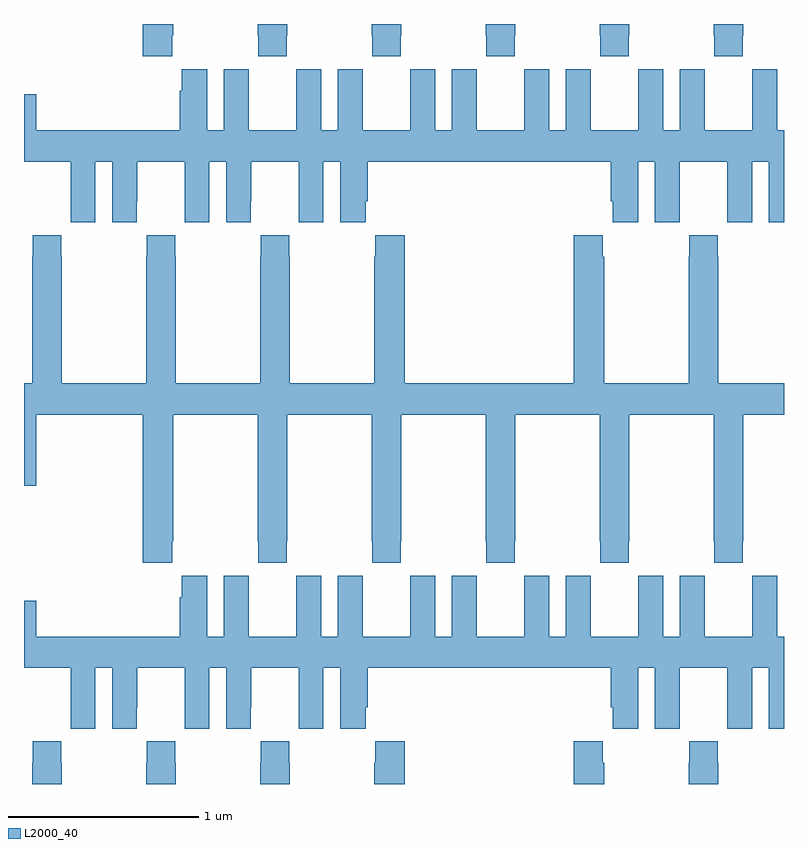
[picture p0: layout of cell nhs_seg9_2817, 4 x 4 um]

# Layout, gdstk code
import gdstk
lib = gdstk.Library(unit=1e-6, precision=1e-09)
def P(c, l, *ps):  # polygons
    for p in ps: c.add(gdstk.Polygon(p, *l))
L2000_40 = (2000, 40)

nhs_seg9_2817 = lib.new_cell('nhs_seg9_2817')
P(nhs_seg9_2817, L2000_40, [(276.783,1174.441),(276.786,1174.441),(276.786,1174.5),(276.631,1174.5),(276.631,1174.441),(276.633,1174.441),(276.633,1174.329),(276.783,1174.329)],
  [(276.183,1174.441),(276.186,1174.441),(276.186,1174.5),(276.031,1174.5),(276.031,1174.441),(276.033,1174.441),(276.033,1174.329),(276.183,1174.329)],
  [(275.583,1174.441),(275.586,1174.441),(275.586,1174.5),(275.431,1174.5),(275.431,1174.441),(275.433,1174.441),(275.433,1174.329),(275.583,1174.329)],
  [(274.983,1174.441),(274.986,1174.441),(274.986,1174.5),(274.831,1174.5),(274.831,1174.441),(274.833,1174.441),(274.833,1174.329),(274.983,1174.329)],
  [(274.383,1174.441),(274.386,1174.441),(274.386,1174.5),(274.231,1174.5),(274.231,1174.441),(274.233,1174.441),(274.233,1174.329),(274.383,1174.329)],
  [(273.779,1174.441),(273.786,1174.441),(273.786,1174.5),(273.626,1174.5),(273.626,1174.329),(273.779,1174.329)],
  [(273.376,1173.776),(273.464,1173.776),(273.464,1173.456),(273.594,1173.456),(273.594,1173.568),(273.595,1173.568),(273.595,1173.776),(273.845,1173.776),(273.845,1173.568),(273.846,1173.568),(273.846,1173.456),(273.976,1173.456),(273.976,1173.776),(274.064,1173.776),(274.064,1173.456),(274.194,1173.456),(274.194,1173.568),(274.195,1173.568),(274.195,1173.776),(274.445,1173.776),(274.445,1173.568),(274.446,1173.568),(274.446,1173.456),(274.576,1173.456),(274.576,1173.776),(274.664,1173.776),(274.664,1173.456),(274.798,1173.456),(274.798,1173.568),(274.808,1173.568),(274.808,1173.776),(276.089,1173.776),(276.089,1173.568),(276.098,1173.568),(276.098,1173.456),(276.232,1173.456),(276.232,1173.776),(276.32,1173.776),(276.32,1173.456),(276.45,1173.456),(276.45,1173.568),(276.451,1173.568),(276.451,1173.776),(276.701,1173.776),(276.701,1173.568),(276.702,1173.568),(276.702,1173.456),(276.832,1173.456),(276.832,1173.776),(276.92,1173.776),(276.92,1173.456),(277,1173.456),(277,1173.94),(276.964,1173.94),(276.964,1174.261),(276.834,1174.261),(276.834,1174.148),(276.833,1174.148),(276.833,1173.94),(276.583,1173.94),(276.583,1174.148),(276.582,1174.148),(276.582,1174.261),(276.452,1174.261),(276.452,1173.94),(276.364,1173.94),(276.364,1174.261),(276.234,1174.261),(276.234,1174.148),(276.233,1174.148),(276.233,1173.94),(275.983,1173.94),(275.983,1174.148),(275.982,1174.148),(275.982,1174.261),(275.852,1174.261),(275.852,1173.94),(275.764,1173.94),(275.764,1174.261),(275.634,1174.261),(275.634,1174.148),(275.633,1174.148),(275.633,1173.94),(275.383,1173.94),(275.383,1174.148),(275.382,1174.148),(275.382,1174.261),(275.252,1174.261),(275.252,1173.94),(275.164,1173.94),(275.164,1174.261),(275.034,1174.261),(275.034,1174.148),(275.033,1174.148),(275.033,1173.94),(274.783,1173.94),(274.783,1174.148),(274.782,1174.148),(274.782,1174.261),(274.652,1174.261),(274.652,1173.94),(274.564,1173.94),(274.564,1174.261),(274.434,1174.261),(274.434,1174.148),(274.433,1174.148),(274.433,1173.94),(274.183,1173.94),(274.183,1174.148),(274.182,1174.148),(274.182,1174.261),(274.052,1174.261),(274.052,1173.94),(273.964,1173.94),(273.964,1174.261),(273.83,1174.261),(273.83,1174.148),(273.821,1174.148),(273.821,1173.94),(273.064,1173.94),(273.064,1174.129),(273,1174.129),(273,1173.776),(273.245,1173.776),(273.245,1173.568),(273.246,1173.568),(273.246,1173.456),(273.376,1173.456)],
  [(274.831,1171.777),(274.833,1171.777),(274.833,1171.665),(274.983,1171.665),(274.983,1171.777),(274.986,1171.777),(274.986,1172.444),(275.431,1172.444),(275.431,1171.777),(275.433,1171.777),(275.433,1171.665),(275.583,1171.665),(275.583,1171.777),(275.586,1171.777),(275.586,1172.444),(276.031,1172.444),(276.031,1171.777),(276.033,1171.777),(276.033,1171.665),(276.183,1171.665),(276.183,1171.777),(276.186,1171.777),(276.186,1172.444),(276.631,1172.444),(276.631,1171.777),(276.633,1171.777),(276.633,1171.665),(276.783,1171.665),(276.783,1171.777),(276.786,1171.777),(276.786,1172.444),(277,1172.444),(277,1172.608),(276.654,1172.608),(276.654,1173.275),(276.651,1173.275),(276.651,1173.388),(276.501,1173.388),(276.501,1173.275),(276.499,1173.275),(276.499,1172.608),(276.054,1172.608),(276.054,1173.275),(276.047,1173.275),(276.047,1173.388),(275.894,1173.388),(275.894,1172.608),(275.003,1172.608),(275.003,1173.388),(274.849,1173.388),(274.849,1173.275),(274.843,1173.275),(274.843,1172.608),(274.398,1172.608),(274.398,1173.275),(274.395,1173.275),(274.395,1173.388),(274.245,1173.388),(274.245,1173.275),(274.243,1173.275),(274.243,1172.608),(273.798,1172.608),(273.798,1173.275),(273.795,1173.275),(273.795,1173.388),(273.645,1173.388),(273.645,1173.275),(273.643,1173.275),(273.643,1172.608),(273.198,1172.608),(273.198,1173.275),(273.195,1173.275),(273.195,1173.388),(273.045,1173.388),(273.045,1173.275),(273.043,1173.275),(273.043,1172.608),(273,1172.608),(273,1172.07),(273.064,1172.07),(273.064,1172.444),(273.626,1172.444),(273.626,1171.665),(273.779,1171.665),(273.779,1171.777),(273.786,1171.777),(273.786,1172.444),(274.231,1172.444),(274.231,1171.777),(274.233,1171.777),(274.233,1171.665),(274.383,1171.665),(274.383,1171.777),(274.386,1171.777),(274.386,1172.444),(274.831,1172.444)],
  [(274.052,1171.597),(274.052,1171.276),(273.964,1171.276),(273.964,1171.597),(273.83,1171.597),(273.83,1171.484),(273.821,1171.484),(273.821,1171.276),(273.064,1171.276),(273.064,1171.465),(273,1171.465),(273,1171.112),(273.245,1171.112),(273.245,1170.904),(273.246,1170.904),(273.246,1170.792),(273.376,1170.792),(273.376,1171.112),(273.464,1171.112),(273.464,1170.792),(273.594,1170.792),(273.594,1170.904),(273.595,1170.904),(273.595,1171.112),(273.845,1171.112),(273.845,1170.904),(273.846,1170.904),(273.846,1170.792),(273.976,1170.792),(273.976,1171.112),(274.064,1171.112),(274.064,1170.792),(274.194,1170.792),(274.194,1170.904),(274.195,1170.904),(274.195,1171.112),(274.445,1171.112),(274.445,1170.904),(274.446,1170.904),(274.446,1170.792),(274.576,1170.792),(274.576,1171.112),(274.664,1171.112),(274.664,1170.792),(274.798,1170.792),(274.798,1170.904),(274.808,1170.904),(274.808,1171.112),(276.089,1171.112),(276.089,1170.904),(276.098,1170.904),(276.098,1170.792),(276.232,1170.792),(276.232,1171.112),(276.32,1171.112),(276.32,1170.792),(276.45,1170.792),(276.45,1170.904),(276.451,1170.904),(276.451,1171.112),(276.701,1171.112),(276.701,1170.904),(276.702,1170.904),(276.702,1170.792),(276.832,1170.792),(276.832,1171.112),(276.92,1171.112),(276.92,1170.792),(277,1170.792),(277,1171.276),(276.964,1171.276),(276.964,1171.597),(276.834,1171.597),(276.834,1171.484),(276.833,1171.484),(276.833,1171.276),(276.583,1171.276),(276.583,1171.484),(276.582,1171.484),(276.582,1171.597),(276.452,1171.597),(276.452,1171.276),(276.364,1171.276),(276.364,1171.597),(276.234,1171.597),(276.234,1171.484),(276.233,1171.484),(276.233,1171.276),(275.983,1171.276),(275.983,1171.484),(275.982,1171.484),(275.982,1171.597),(275.852,1171.597),(275.852,1171.276),(275.764,1171.276),(275.764,1171.597),(275.634,1171.597),(275.634,1171.484),(275.633,1171.484),(275.633,1171.276),(275.383,1171.276),(275.383,1171.484),(275.382,1171.484),(275.382,1171.597),(275.252,1171.597),(275.252,1171.276),(275.164,1171.276),(275.164,1171.597),(275.034,1171.597),(275.034,1171.484),(275.033,1171.484),(275.033,1171.276),(274.783,1171.276),(274.783,1171.484),(274.782,1171.484),(274.782,1171.597),(274.652,1171.597),(274.652,1171.276),(274.564,1171.276),(274.564,1171.597),(274.434,1171.597),(274.434,1171.484),(274.433,1171.484),(274.433,1171.276),(274.183,1171.276),(274.183,1171.484),(274.182,1171.484),(274.182,1171.597)],
  [(276.654,1170.611),(276.651,1170.611),(276.651,1170.724),(276.501,1170.724),(276.501,1170.611),(276.499,1170.611),(276.499,1170.5),(276.654,1170.5)],
  [(276.054,1170.611),(276.047,1170.611),(276.047,1170.724),(275.894,1170.724),(275.894,1170.5),(276.054,1170.5)],
  [(275.003,1170.724),(274.849,1170.724),(274.849,1170.611),(274.843,1170.611),(274.843,1170.5),(275.003,1170.5)],
  [(274.398,1170.611),(274.395,1170.611),(274.395,1170.724),(274.245,1170.724),(274.245,1170.611),(274.243,1170.611),(274.243,1170.5),(274.398,1170.5)],
  [(273.798,1170.611),(273.795,1170.611),(273.795,1170.724),(273.645,1170.724),(273.645,1170.611),(273.643,1170.611),(273.643,1170.5),(273.798,1170.5)],
  [(273.198,1170.611),(273.195,1170.611),(273.195,1170.724),(273.045,1170.724),(273.045,1170.611),(273.043,1170.611),(273.043,1170.5),(273.198,1170.5)])

lib.write_gds('nhs_seg9_2817.gds')
